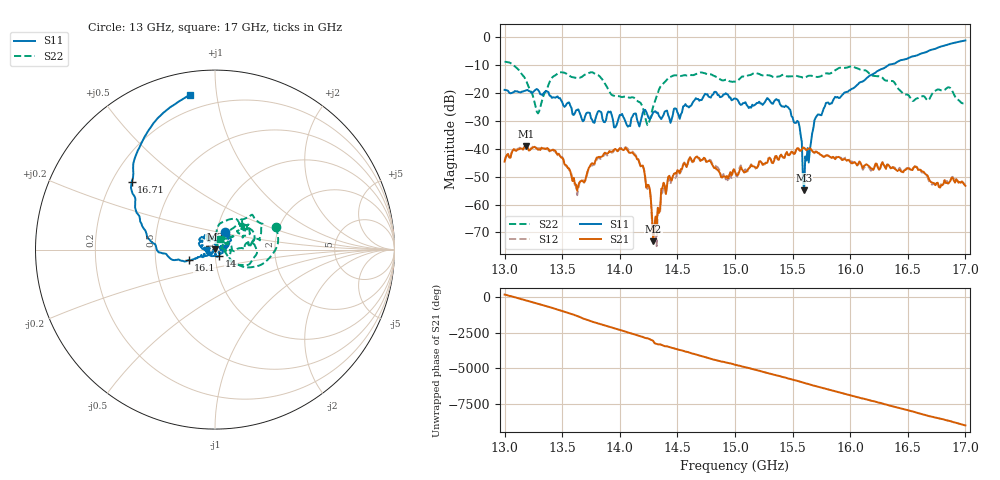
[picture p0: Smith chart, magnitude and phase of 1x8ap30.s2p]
!Keysight Technologies,P9374A,MY57211807,A.19.30.04
!Date: Friday, May 08, 2026 14:35:11
!Correction: S11(C  2-Port  )
!S21(C  2-Port  )
!S12(C  2-Port  )
!S22(C  2-Port  )
!S2P File: Measurements: S11, S21, S12, S22:
# Hz S  dB  R 50
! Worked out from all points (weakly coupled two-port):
!   401 points, 13 GHz to 17 GHz, reference 50 ohm
!   highest |S21| = -38.97 dB at 13.19 GHz (marker M1); lowest = -73.2 dB at 14.29 GHz (marker M2)
!   lowest |S11| = -54.9 dB at 15.6 GHz (marker M3), VSWR 1.00, Z = 49.9 + j0.101 ohm
!   |S11| at or under -10 dB: start of sweep to 16.33 GHz
!   |S22| runs from -31.5 to -8.8 dB; largest |S21 - S12| = 0.0012
!   S11 on the Smith chart (normalised r, x): 13 GHz: 1.10, +0.22; 14 GHz: 1.05, -0.07; 16.1 GHz: 0.74, -0.09; 16.71 GHz: 0.28, +0.33; 17 GHz: 0.12, +0.84
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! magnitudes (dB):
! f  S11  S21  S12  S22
! 13 GHz  -18.9  -44.6  -44.3  -8.8
! 13.19 GHz  -19.0  -39.0  -38.5  -15.9
! 13.29 GHz  -18.9  -40.3  -39.8  -27.3
! 13.43 GHz  -21.6  -40.5  -40.8  -13.9
! 13.67 GHz  -29.3  -51.4  -51.1  -14.3
! 14 GHz  -27.9  -39.8  -39.8  -21.2
! 14.19 GHz  -28.6  -46.1  -46.7  -24.3
! 14.24 GHz  -27.8  -52.9  -54.4  -31.5
! 14.29 GHz  -27.0  -73.2  -70.9  -24.8
! 14.34 GHz  -28.2  -63.0  -60.9  -18.8
! 14.4 GHz  -26.5  -56.2  -56.3  -15.7
! 14.61 GHz  -24.7  -43.0  -43.1  -13.6
! 15 GHz  -22.0  -48.3  -48.5  -15.9
! 15.46 GHz  -25.1  -42.2  -42.3  -14.1
! 15.56 GHz  -32.0  -40.6  -40.5  -14.2
! 15.6 GHz  -54.9  -39.6  -39.7  -14.6
! 15.67 GHz  -34.5  -40.7  -40.7  -13.9
! 15.79 GHz  -23.6  -42.4  -42.4  -13.0
! 16.1 GHz  -16.0  -46.1  -46.4  -11.8
! 16.34 GHz  -9.8  -46.2  -45.8  -15.6
! 16.71 GHz  -4.5  -52.1  -52.9  -20.4
! 17 GHz  -1.2  -53.3  -53.1  -23.9
